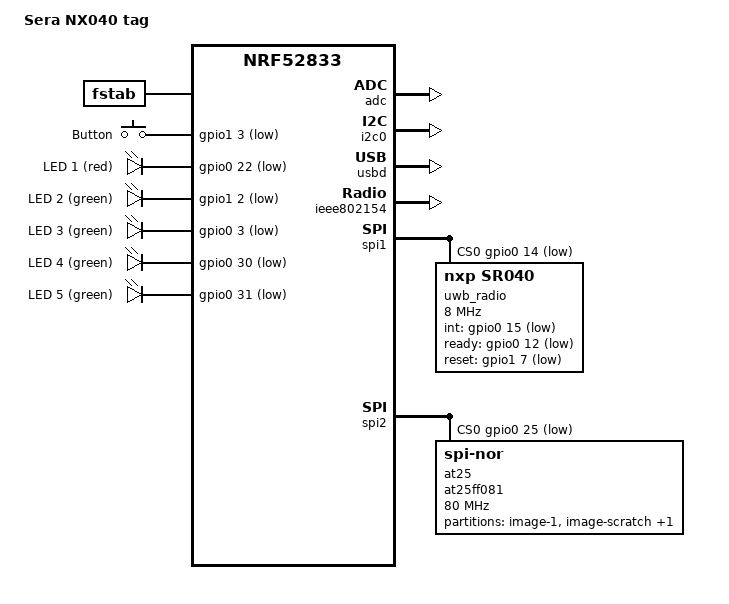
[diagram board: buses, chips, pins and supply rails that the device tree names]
/*
 * Copyright (c) 2024 Laird Connectivity
 *
 * SPDX-License-Identifier: Apache-2.0
 */

/dts-v1/;
#include <zephyr/dt-bindings/led/led.h>
#include <nordic/nrf52833_qiaa.dtsi>
#include "sera_nx040_tag-pinctrl.dtsi"

/ {
	model = "Sera NX040 tag";
	compatible = "ezurio,sera_nx040_tag";

	chosen {
		zephyr,console = &cdc_acm_uart1;
		zephyr,shell-uart = &cdc_acm_uart1;
		zephyr,uart-mcumgr = &cdc_acm_uart1;
		zephyr,bt-mon-uart = &cdc_acm_uart1;
		zephyr,bt-c2h-uart = &cdc_acm_uart1;
		zephyr,sram = &sram0;
		zephyr,flash = &flash0;
		zephyr,ieee802154 = &ieee802154;
		nordic,pm-ext-flash = &at25;
	};

	fstab {
		compatible = "zephyr,fstab";
		lfs1: lfs1 {
			compatible = "zephyr,fstab,littlefs";
			mount-point = "/lfs1";
			partition = <&littlefs_storage>;
			automount;
			read-size = <16>;
			prog-size = <16>;
			cache-size = <64>;
			lookahead-size = <32>;
			block-cycles = <512>;
		};
	};

	buttons {
		compatible = "gpio-keys";
		button1: button_1 {
			gpios = <&gpio1 3 GPIO_ACTIVE_LOW>;
			label = "Button";
		};
	};

	leds {
		compatible = "gpio-leds";
		led1: led_1 {
			gpios = <&gpio0 22 GPIO_ACTIVE_LOW>;
			label = "LED 1 (red)";
		};
		led2: led_2 {
			gpios = <&gpio1 2 GPIO_ACTIVE_LOW>;
			label = "LED 2 (green)";
		};
		led3: led_3 {
			gpios = <&gpio0 3 GPIO_ACTIVE_LOW>;
			label = "LED 3 (green)";
		};
		led4: led_4 {
			gpios = <&gpio0 30 GPIO_ACTIVE_LOW>; 
			label = "LED 4 (green)";
		};
		led5: led_5 {
			gpios = <&gpio0 31 GPIO_ACTIVE_LOW>;
			label = "LED 5 (green)";
		};
	};

	/* These aliases are provided for compatibility with samples */
	aliases {
		mcuboot-button0 = &button1;
		led0 = &led1;
		led1 = &led2;
		led2 = &led3;
		led3 = &led4;
		led4 = &led5;
		watchdog0 = &wdt0;
	};
};

&adc {
	status = "okay";
};

&gpiote {
	status = "okay";
};

&gpio0 {
	status = "okay";
};

&gpio1 {
	status = "okay";
};

&i2c0 {
	compatible = "nordic,nrf-twi";
	status = "okay";
	pinctrl-0 = <&i2c0_default>;
	pinctrl-1 = <&i2c0_sleep>;
	pinctrl-names = "default", "sleep";
};

&flash0 {
	partitions {
		compatible = "fixed-partitions";
		#address-cells = <1>;
		#size-cells = <1>;

		boot_partition: partition@0 {
			label = "mcuboot";
			reg = <0x00000000 0x00009200>;
		};

		slot0_partition: partition@9200 {
			label = "image-0";
			reg = <0x00009200 0x00076E00>;
		};
	};
};

zephyr_udc0: &usbd {
	compatible = "nordic,nrf-usbd";
	status = "okay";

	cdc_acm_uart0: cdc_acm_uart0 {
		compatible = "zephyr,cdc-acm-uart";
	};

	cdc_acm_uart1: cdc_acm_uart1 {
		compatible = "zephyr,cdc-acm-uart";
	};
};

&ieee802154 {
	status = "okay";
};

/* SPI bus to UWB radio */
&spi1 {
	compatible = "nordic,nrf-spim";
	status = "okay";
	cs-gpios = <&gpio0 14 GPIO_ACTIVE_LOW>;
	pinctrl-0 = <&spi1_default>;
	pinctrl-1 = <&spi1_sleep>;
	pinctrl-names = "default", "sleep";
	uwb_radio: sr040@0 {
		compatible = "nxp,sr040";
		reg = <0>;
		spi-max-frequency = <8000000>;
		int-gpios = <&gpio0 15 GPIO_ACTIVE_LOW>;
		ready-gpios = <&gpio0 12 GPIO_ACTIVE_LOW>;
		reset-gpios = <&gpio1 7 GPIO_ACTIVE_LOW>;
	};
};

/* SPI bus to module SPI flash and external SPI pins */
&spi2 {
	compatible = "nordic,nrf-spim";
	status = "okay";
	cs-gpios = <&gpio0 25 GPIO_ACTIVE_LOW>, <&gpio0 20 GPIO_ACTIVE_LOW>;
	pinctrl-0 = <&spi2_default>;
	pinctrl-1 = <&spi2_sleep>;
	pinctrl-names = "default", "sleep";
	at25: at25ff081@0 {
		compatible = "jedec,spi-nor";
		reg = <0>;
		spi-max-frequency = <80000000>;
		size = <8388608>;
		has-dpd;
		t-enter-dpd = <10000>;
		t-exit-dpd = <35000>;
	};
};

&at25 {
	partitions {
		compatible = "fixed-partitions";
		#address-cells = <1>;
		#size-cells = <1>;

		slot1_partition: partition@0 {
			label = "image-1";
			reg = <0x00000000 0x00077000>;
		};
		scratch_partition: partition@77000 {
			label = "image-scratch";
			reg = <0x00077000 0x00019000>;
		};

		littlefs_storage: partition@90000 {
			label = "littlefs_storage";
			reg = <0x00090000 0x00070000>;
		};
	};
};

&uicr {
	gpio-as-nreset;
};

&reg1 {
	regulator-initial-mode = <NRF5X_REG_MODE_DCDC>;
};
